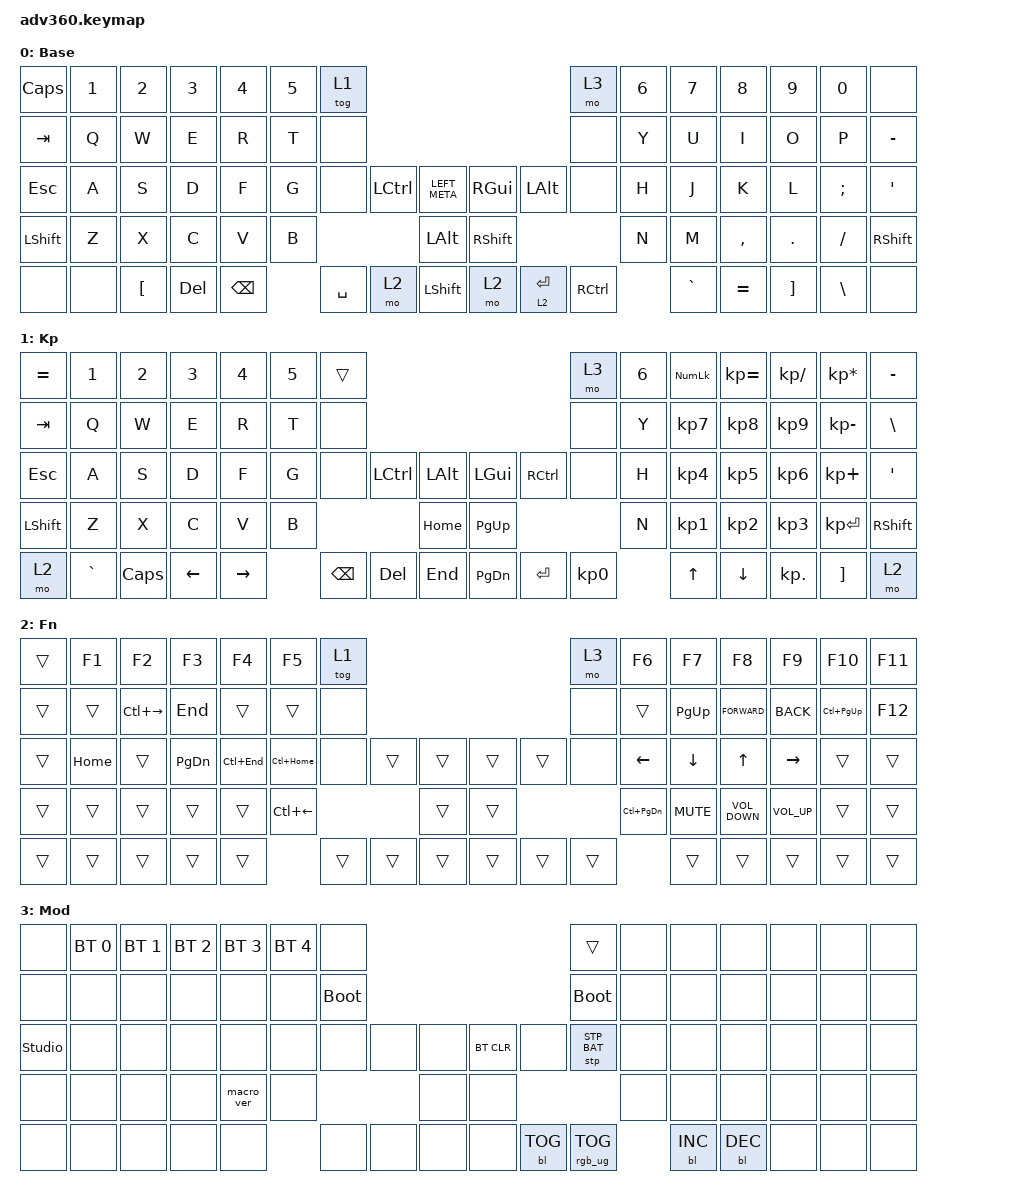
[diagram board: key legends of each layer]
#include <dt-bindings/zmk/stp.h>
#include <behaviors.dtsi>
#include <dt-bindings/zmk/backlight.h>
#include <dt-bindings/zmk/bt.h>
#include <dt-bindings/zmk/keys.h>
#include <dt-bindings/zmk/rgb.h>

/ {
    behaviors {
        #include "macros.dtsi"
      #include "version.dtsi"

        hm: homerow_mods {
            compatible = "zmk,behavior-hold-tap";
            label = "HOMEROW_MODS";
            #binding-cells = <2>;
            tapping-term-ms = <200>;
            quick_tap_ms = <175>;
            flavor = "tap-preferred";
            bindings = <&kp>, <&kp>;
        };
    };

    keymap {
        compatible = "zmk,keymap";

        default_layer {
            display-name = "Base";
            bindings = <
&kp CAPS   &kp N1  &kp N2            &kp N3      &kp N4         &kp N5  &tog 1                                                                  &mo 3      &kp N6  &kp N7     &kp N8     &kp N9             &kp N0         &none
&kp TAB    &kp Q   &kp W             &kp E       &kp R          &kp T   &none                                                                   &none      &kp Y   &kp U      &kp I      &kp O              &kp P          &kp MINUS
&kp ESC    &kp A   &kp S             &kp D       &kp F          &kp G   &none      &kp LCTRL  &kp LEFT_META       &kp RGUI         &kp LALT     &none      &kp H   &kp J      &kp K      &kp L              &kp SEMICOLON  &kp SQT
&kp LSHFT  &kp Z   &kp X             &kp C       &kp V          &kp B                         &kp LEFT_ALT        &kp RIGHT_SHIFT                          &kp N   &kp M      &kp COMMA  &kp DOT            &kp FSLH       &kp RIGHT_SHIFT
&none      &none   &kp LEFT_BRACKET  &kp DELETE  &kp BACKSPACE          &kp SPACE  &mo 2      &kp LEFT_SHIFT      &mo 2            &lt 2 ENTER  &kp RCTRL          &kp GRAVE  &kp EQUAL  &kp RIGHT_BRACKET  &kp BACKSLASH  &none
            >;
        };

        keypad {
            display-name = "Kp";
            bindings = <
&kp EQUAL  &kp N1     &kp N2    &kp N3    &kp N4     &kp N5  &trans                                                   &mo 3      &kp N6  &kp KP_NUM  &kp KP_EQUAL  &kp KP_DIVIDE  &kp KP_MULTIPLY  &kp MINUS
&kp TAB    &kp Q      &kp W     &kp E     &kp R      &kp T   &none                                                    &none      &kp Y   &kp KP_N7   &kp KP_N8     &kp KP_N9      &kp KP_MINUS     &kp BSLH
&kp ESC    &kp A      &kp S     &kp D     &kp F      &kp G   &none     &kp LCTRL  &kp LALT      &kp LGUI   &kp RCTRL  &none      &kp H   &kp KP_N4   &kp KP_N5     &kp KP_N6      &kp KP_PLUS      &kp SQT
&kp LSHFT  &kp Z      &kp X     &kp C     &kp V      &kp B                        &kp HOME      &kp PG_UP                        &kp N   &kp KP_N1   &kp KP_N2     &kp KP_N3      &kp KP_ENTER     &kp RSHFT
&mo 2      &kp GRAVE  &kp CAPS  &kp LEFT  &kp RIGHT          &kp BSPC  &kp DEL    &kp END       &kp PG_DN  &kp ENTER  &kp KP_N0          &kp UP      &kp DOWN      &kp KP_DOT     &kp RBKT         &mo 2
            >;
        };

        fn {
            display-name = "Fn";
            bindings = <
&trans  &kp F1    &kp F2               &kp F3         &kp F4       &kp F5              &tog 1                                      &mo 3   &kp F6             &kp F7          &kp F8             &kp F9           &kp F10          &kp F11
&trans  &trans    &kp LC(RIGHT_ARROW)  &kp END        &trans       &trans              &none                                       &none   &trans             &kp PAGE_UP     &kp K_FORWARD      &kp K_BACK       &kp LC(PAGE_UP)  &kp F12
&trans  &kp HOME  &trans               &kp PAGE_DOWN  &kp LC(END)  &kp LC(HOME)        &none   &trans  &trans      &trans  &trans  &none   &kp LEFT           &kp DOWN_ARROW  &kp UP_ARROW       &kp RIGHT_ARROW  &trans           &trans
&trans  &trans    &trans               &trans         &trans       &kp LC(LEFT_ARROW)                  &trans      &trans                  &kp LC(PAGE_DOWN)  &kp K_MUTE      &kp C_VOLUME_DOWN  &kp C_VOLUME_UP  &trans           &trans
&trans  &trans    &trans               &trans         &trans                           &trans  &trans  &trans      &trans  &trans  &trans                     &trans          &trans             &trans           &trans           &trans
            >;
        };

        mod {
            display-name = "Mod";
            bindings = <
&none           &bt BT_SEL 0  &bt BT_SEL 1  &bt BT_SEL 2  &bt BT_SEL 3  &bt BT_SEL 4  &none                                                  &trans           &none  &none       &none       &none  &none  &none
&none           &none         &none         &none         &none         &none         &bootloader                                            &bootloader      &none  &none       &none       &none  &none  &none
&studio_unlock  &none         &none         &none         &none         &none         &none        &none  &none      &bt BT_CLR  &none       &stp STP_BAT     &none  &none       &none       &none  &none  &none
&none           &none         &none         &none         &macro_ver    &none                             &none      &none                                    &none  &none       &none       &none  &none  &none
&none           &none         &none         &none         &none                       &none        &none  &none      &none       &bl BL_TOG  &rgb_ug RGB_TOG         &bl BL_INC  &bl BL_DEC  &none  &none  &none
            >;
        };

        extra1 {
            display-name = "Red";
            status = "reserved";
        };

        extra2 {
            display-name = "Purple";
            status = "reserved";
        };

        extra3 {
            display-name = "Cyan";
            status = "reserved";
        };

        extra4 {
            display-name = "Yellow";
            status = "reserved";
        };
    };
};
